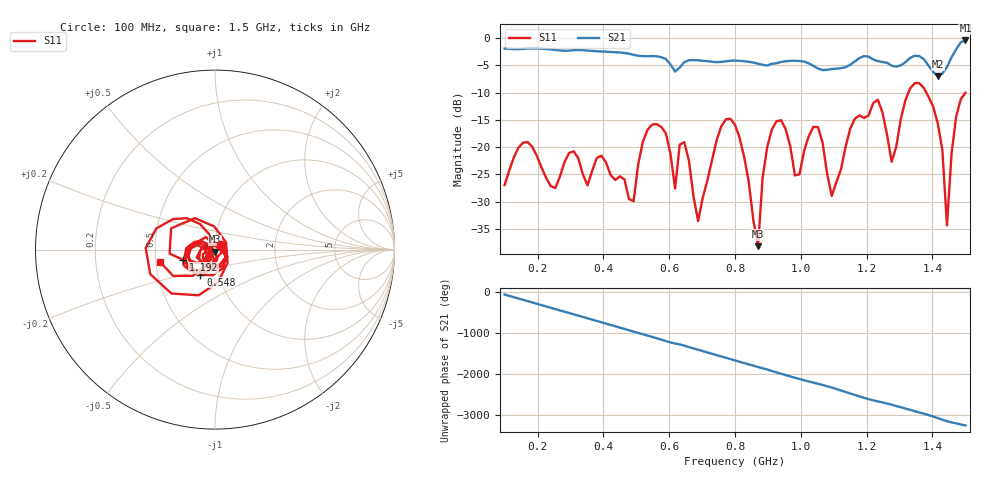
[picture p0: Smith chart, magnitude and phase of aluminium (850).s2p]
! NanoVNA-App
! Date: 2025-09-25 15:01:54
! Start: 100MHz Stop: 1,5GHz Points: 101
! S-Parameter data: F S11 S21 S12 S22
# Hz S RI R 50
!  Frequency  S11_Real  S11_Imag  S21_Real  S21_Imag  S12_Real  S12_Imag  S22_Real  S22_Imag
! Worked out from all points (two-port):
!   101 points, 100 MHz to 1.5 GHz, reference 50 ohm
!   highest |S21| = -0.44 dB at 1.5 GHz (marker M1); lowest = -7.0 dB at 1.416 GHz (marker M2)
!   |S21| within 3 dB of the highest: start of sweep to 570.2 MHz; 1.459 GHz to end of sweep (the widest 2 of 4)
!   lowest |S11| = -38.2 dB at 870 MHz (marker M3), VSWR 1.02, Z = 50.1 - j1.23 ohm
!   |S11| at or under -10 dB: start of sweep to 1.327 GHz; 1.381 GHz to end of sweep
!   S12 and S22 are empty: the file has one direction only
!   S11 on the Smith chart (normalised r, x): 100 MHz: 1.07, +0.06; 548 MHz: 0.82, -0.23; 1.192 GHz: 0.70, -0.08; 1.5 GHz: 0.53, -0.08
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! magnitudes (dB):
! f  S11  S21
! 100 MHz  -27.0  -1.9
! 338 MHz  -25.0  -2.2
! 492 MHz  -29.9  -3.1
! 548 MHz  -15.9  -3.3
! 576 MHz  -16.3  -3.5
! 618 MHz  -27.6  -6.1
! 646 MHz  -19.1  -4.4
! 688 MHz  -33.6  -4.1
! 800 MHz  -15.9  -4.1
! 870 MHz  -38.2  -4.7
! 912 MHz  -16.8  -4.7
! 982 MHz  -25.2  -4.2
! 1.038 GHz  -16.3  -5.1
! 1.094 GHz  -29.0  -5.7
! 1.192 GHz  -14.7  -3.3
! 1.234 GHz  -11.3  -4.2
! 1.276 GHz  -22.7  -5.1
! 1.346 GHz  -8.3  -3.2
! 1.416 GHz  -15.6  -7.0
! 1.444 GHz  -34.4  -5.3
! 1.472 GHz  -14.4  -2.1
! 1.5 GHz  -10.0  -0.4
